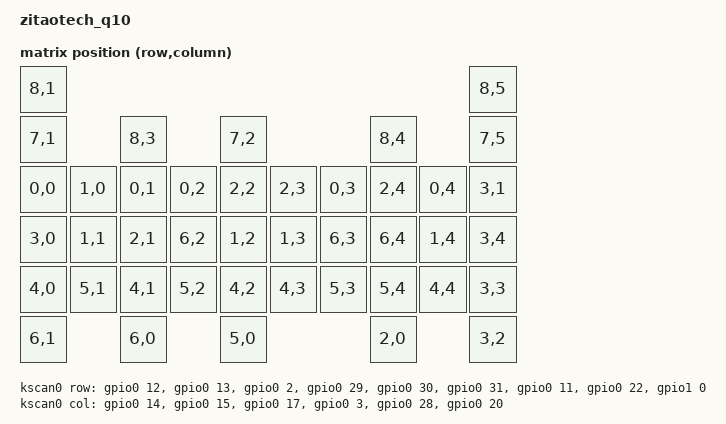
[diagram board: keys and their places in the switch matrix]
/*
 * Copyright (c) 2023 ZitaoTech
 *
 * SPDX-License-Identifier: MIT
 */

/dts-v1/;
#include <nordic/nrf52840_qiaa.dtsi>
#include <zephyr/dt-bindings/input/input-event-codes.h>
#include <dt-bindings/zmk/keys.h>
#include <dt-bindings/led/led.h>
#include <dt-bindings/zmk/matrix_transform.h>
#include "zitaotech_q10-layouts.dtsi"

/ {
    model = "zitaotech_q10";
    compatible = "ZitaoTech,zitaotech_q10";

    chosen {
        zephyr,code-partition = &code_partition;
        zephyr,sram = &sram0;
        zephyr,flash = &flash0;
        zephyr,console = &cdc_acm_uart;
        zmk,battery = &vbatt;
        zmk,kscan = &kscan0;
        zmk,physical-layouts = &zitaotech_q10_layout;
        zmk,keyboard_backlight = &keyboard_backlight;
        zmk,trackpad_led = &trackpad_led;
        zmk,backlight = &backlight;
        zmk,underglow = &led_strip;
        zmk,studio-rpc-uart = &cdc_acm_uart; // ✅ enable ZMK Studio
    };

    keyboard_backlight: pwmledfo{
        compatible = "pwm-leds";
        pwm_led_0 {
            pwms = <&pwm2 0 PWM_USEC(20) PWM_POLARITY_NORMAL>;
        };
        pwm_led_1 {
            pwms = <&pwm3 0 PWM_MSEC(10) PWM_POLARITY_NORMAL>;
        };
    };

    trackpad_led: pwmledo{
        compatible = "pwm-leds";
        pwm_led_0 {
            pwms = <&pwm1 0 PWM_USEC(20) PWM_POLARITY_NORMAL>;
        };
    };

    backlight: pwmleds {
        compatible = "pwm-leds";
        pwm_led_0 {
            pwms = <&pwm0 0 PWM_MSEC(10) PWM_POLARITY_NORMAL>;
        };
    };

    default_transform: keymap_transform_0 {
        compatible = "zmk,matrix-transform";
        columns = <6>;
        rows = <9>;
        map = <
RC(8,1)                                                                   RC(8,5)
RC(7,1)          RC(8,3)             RC(7,2)             RC(8,4)          RC(7,5)
RC(0,0)  RC(1,0) RC(0,1) RC(0,2) RC(2,2) RC(2,3) RC(0,3) RC(2,4) RC(0,4)  RC(3,1)
RC(3,0)  RC(1,1) RC(2,1) RC(6,2) RC(1,2) RC(1,3) RC(6,3) RC(6,4) RC(1,4)  RC(3,4)
RC(4,0)  RC(5,1) RC(4,1) RC(5,2) RC(4,2) RC(4,3) RC(5,3) RC(5,4) RC(4,4)  RC(3,3)
RC(6,1)          RC(6,0)             RC(5,0)             RC(2,0)          RC(3,2)
        >;
    };

    kscan0: kscan {
        compatible = "zmk,kscan-gpio-matrix";
        diode-direction = "col2row";
        wakeup-source;
        row-gpios
            = <&gpio0 12 (GPIO_ACTIVE_HIGH | GPIO_PULL_DOWN)>                                                   
            , <&gpio0 13  (GPIO_ACTIVE_HIGH | GPIO_PULL_DOWN)>
            , <&gpio0 2 (GPIO_ACTIVE_HIGH | GPIO_PULL_DOWN)>
            , <&gpio0 29  (GPIO_ACTIVE_HIGH | GPIO_PULL_DOWN)>
            , <&gpio0 30  (GPIO_ACTIVE_HIGH | GPIO_PULL_DOWN)>
            , <&gpio0 31 (GPIO_ACTIVE_HIGH | GPIO_PULL_DOWN)>
            , <&gpio0 11 (GPIO_ACTIVE_HIGH | GPIO_PULL_DOWN)>
            , <&gpio0 22 (GPIO_ACTIVE_HIGH | GPIO_PULL_DOWN)>
            , <&gpio1 0 (GPIO_ACTIVE_HIGH | GPIO_PULL_DOWN)>
            ;
        /*
         * The BlackBerry keyboard matrix has no diodes. With the idle columns driven low, two keys
         * held in the same row short the scanned column to an idle one and neither key is read
         * (e.g. the right aA with P or A). Open source drives a column high only while it is
         * scanned and lets it float otherwise, like the keyboard's own firmware; see also
         * CONFIG_ZMK_KSCAN_MATRIX_WAIT_BETWEEN_OUTPUTS in zitaotech_q10.conf.
         */
        col-gpios
            = <&gpio0 14  (GPIO_ACTIVE_HIGH | GPIO_OPEN_SOURCE)>
            , <&gpio0 15  (GPIO_ACTIVE_HIGH | GPIO_OPEN_SOURCE)>
            , <&gpio0 17  (GPIO_ACTIVE_HIGH | GPIO_OPEN_SOURCE)>
            , <&gpio0 3 (GPIO_ACTIVE_HIGH | GPIO_OPEN_SOURCE)>
            , <&gpio0 28 (GPIO_ACTIVE_HIGH | GPIO_OPEN_SOURCE)>
            , <&gpio0 20 (GPIO_ACTIVE_HIGH | GPIO_OPEN_SOURCE)>
            ;
    };

    leds {
        compatible = "gpio-leds";
        blue_led: led_0 {
            gpios = <&gpio0 10 GPIO_ACTIVE_HIGH>;
        };
    };

    // Node name must match original "EXT_POWER" label to preserve user settings.
    EXT_POWER {
        compatible = "zmk,ext-power-generic";
        control-gpios = <&gpio1 11 GPIO_ACTIVE_LOW>;
    };

    vbatt: vbatt {
        compatible = "zmk,battery-voltage-divider";
        io-channels = <&adc 2>;
        output-ohms = <2000000>;
        full-ohms = <2820000>;  // 2000000 + 820000
    };
};

&adc {
    status = "okay";
};

&gpiote {
    status = "okay";
};

&gpio0 {
    status = "okay";
};

&gpio1 {
    status = "okay";
};

&pwm0 {
    status = "okay";
    pinctrl-0 = <&pwm0_default>;
    pinctrl-1 = <&pwm0_sleep>;
    pinctrl-names = "default", "sleep";
};

&pwm1 {
    status = "okay";
    pinctrl-0 = <&pwm1_default>;
    pinctrl-1 = <&pwm1_sleep>;
    pinctrl-names = "default", "sleep";
};

&pwm2 {
    status = "okay";
    pinctrl-0 = <&pwm2_default>;
    pinctrl-1 = <&pwm2_sleep>;
    pinctrl-names = "default", "sleep";
};

&pwm3 {
    status = "okay";
    pinctrl-0 = <&pwm3_default>;
    pinctrl-1 = <&pwm3_sleep>;
    pinctrl-names = "default", "sleep";
};


&i2c0 {
    status = "okay";
    compatible = "nordic,nrf-twim";
    clock-frequency = <I2C_BITRATE_FAST>; 
    pinctrl-0 = <&i2c0_default>;
    pinctrl-1 = <&i2c0_sleep>;
    pinctrl-names = "default", "sleep";

    bbtrackpad:a320@3B {
        compatible = "avago,a320";
        reg = <0x3B>;
        status = "okay";
    };
};


/ {
    bbtrackpad_listener: bbtrackpad_listener {
        compatible = "zmk,input-listener";
        status = "disabled";
        device = <&bbtrackpad>;
    };
};

&bbtrackpad_listener {
    status = "okay";
};



&spi3 {
    compatible = "nordic,nrf-spim";
    status = "okay";

    pinctrl-0 = <&spi3_default>;
    pinctrl-1 = <&spi3_sleep>;
    pinctrl-names = "default", "sleep";

    led_strip: ws2812@0 {
        compatible = "worldsemi,ws2812-spi";
        /* SPI */
        reg = <0>; /* ignored, but necessary for SPI bindings */
        spi-max-frequency = <400000>;
        /* WS2812 */
        chain-length = <1>; /* number of LEDs */
        spi-one-frame = <0x70>;
        spi-zero-frame = <0x40>;
        color-mapping = <LED_COLOR_ID_GREEN
                         LED_COLOR_ID_RED
                         LED_COLOR_ID_BLUE>;
    };
};

&usbd {
    status = "okay";
    cdc_acm_uart: cdc_acm_uart {
        compatible = "zephyr,cdc-acm-uart";
    };
};

&zitaotech_q10_layout{
	transform = <&default_transform>;
	kscan = <&kscan0>;
}; 

zephyr_udc0: &usbd { 
    compatible = "nordic,nrf-usbd"; 
    status = "okay"; 
};

&pinctrl {
    i2c0_default: i2c0_default {
        group1 {
            psels = <NRF_PSEL(TWIM_SDA, 1, 9)>,
                <NRF_PSEL(TWIM_SCL, 0, 8)>;
        };
    };

    i2c0_sleep: i2c0_sleep {
        group1 {
            psels = <NRF_PSEL(TWIM_SDA, 1, 9)>,
                <NRF_PSEL(TWIM_SCL, 0, 8)>;
            low-power-enable;
        };
    };
    spi3_default: spi3_default {
        group1 {
            psels = <NRF_PSEL(SPIM_MOSI, 0, 10)>;    // Setting for RGB light, unreal
        };
    };

    spi3_sleep: spi3_sleep {
        group1 {
            psels = <NRF_PSEL(SPIM_MOSI, 0, 10)>;
            low-power-enable;
        };
    };
    pwm0_default:pwm0_default{
        group1{
            psels = <NRF_PSEL(PWM_OUT0, 0, 6)>; // Backlight for backlight.c unreal
        };
    };

    pwm0_sleep: pwm0_sleep {
        group1 {
            psels = <NRF_PSEL(PWM_OUT0, 0, 6)>;
            bias-pull-down;
        };
    };

    pwm1_default:pwm1_default{
        group1{
            psels = <NRF_PSEL(PWM_OUT0, 1, 13)>; // Backlight for Trackpad LED
        };
    };

    pwm1_sleep: pwm1_sleep {
        group1 {
            psels = <NRF_PSEL(PWM_OUT0, 1, 13)>;
            bias-pull-down;
        };
    };

    pwm2_default: pwm2_default {
        group1 {
            psels = <NRF_PSEL(PWM_OUT0, 1, 4)>; // Backlight for Keyboard LED
        };
    };

    pwm2_sleep: pwm2_sleep {                    
        group1 {
            psels = <NRF_PSEL(PWM_OUT0, 1, 4)>;
            bias-pull-down;
        };
    };
    pwm3_default: pwm3_default {
        group1 {
            psels = <NRF_PSEL(PWM_OUT0, 1, 6)>; // Backlight for Keyboard middle LED
        };
    };

    pwm3_sleep: pwm3_sleep {                    
        group1 {
            psels = <NRF_PSEL(PWM_OUT0, 1, 6)>;
            bias-pull-down;
        };
    };
};

&flash0 {
    /*
     * For more information, see:
     * http://docs.zephyrproject.org/latest/devices/dts/flash_partitions.html
     */
    partitions {
        compatible = "fixed-partitions";
        #address-cells = <1>;
        #size-cells = <1>;

        sd_partition: partition@0 {
            reg = <0x00000000 0x00001000>;
        };

        code_partition: partition@1000 {
            reg = <0x00001000 0x000d3000>;
        };

        /*
         * The flash starting at 0x000d4000 and ending at
         * 0x000f3fff is reserved for use by the application.
         */

        /*
         * Storage partition will be used by FCB/LittleFS/NVS
         * if enabled.
         */
        storage_partition: partition@d4000 {
            reg = <0x000d4000 0x00020000>;
        };

        boot_partition: partition@f4000 {
            reg = <0x000f4000 0x0000c000>;
        };
    };
};


